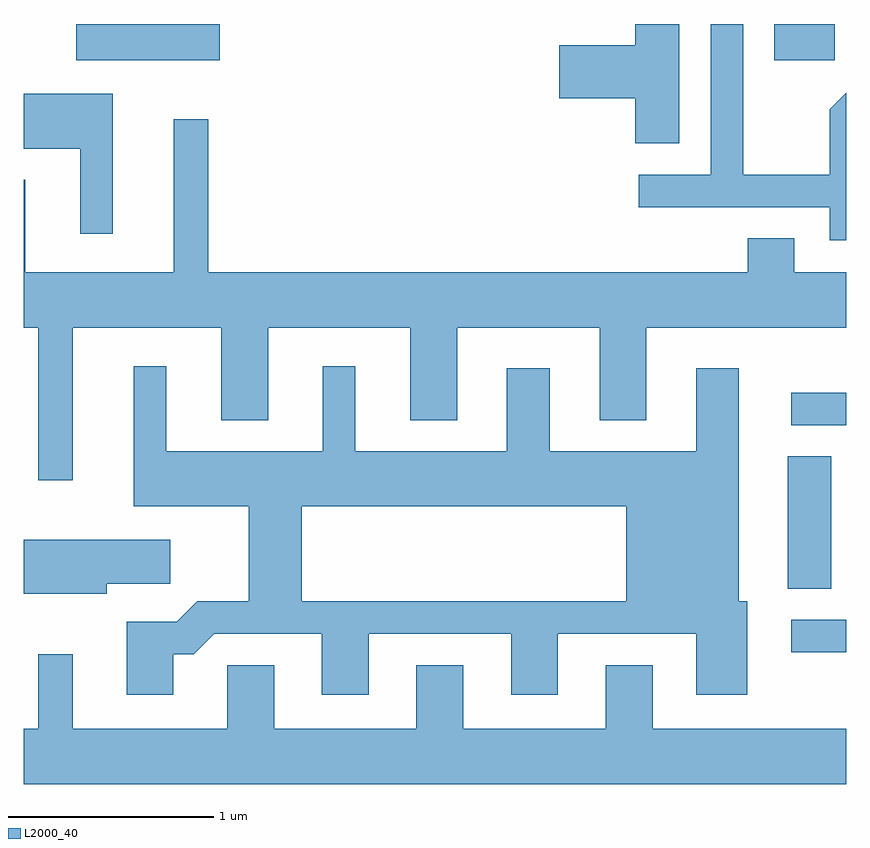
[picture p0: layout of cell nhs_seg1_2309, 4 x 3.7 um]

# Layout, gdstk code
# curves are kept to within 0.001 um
import gdstk
lib = gdstk.Library(unit=1e-6, precision=1e-09)
def R(c, l, rs):  # rectangles x0, y0, x1, y1
    for r in rs: c.add(gdstk.rectangle(r[:2], r[2:], *l))
def P(c, l, *ps):  # polygons
    for p in ps: c.add(gdstk.Polygon(p, *l))
L2000_40 = (2000, 40)

nhs_seg1_2309 = lib.new_cell('nhs_seg1_2309')
R(nhs_seg1_2309, L2000_40, [(259.343,904.656,259.611,904.814), (259.326,904.966,259.539,905.609), (259.343,905.761,259.611,905.919), (255.866,907.536,256.564,907.712), (259.261,907.536,259.554,907.712)])
P(nhs_seg1_2309, L2000_40, [(259.611,907.377),(259.531,907.297),(259.531,906.979),(259.109,906.979),(259.109,907.712),(258.951,907.712),(258.951,906.979),(258.603,906.979),(258.603,906.821),(259.531,906.821),(259.531,906.661),(259.611,906.661)],
  [(258.799,907.712),(258.586,907.712),(258.586,907.609),(258.216,907.609),(258.216,907.351),(258.586,907.351),(258.586,907.131),(258.799,907.131)],
  [(256.044,907.374),(255.611,907.374),(255.611,907.106),(255.886,907.106),(255.886,906.693),(256.044,906.693)],
  [(255.849,906.236),(256.571,906.236),(256.571,905.786),(256.799,905.786),(256.799,906.236),(257.491,906.236),(257.491,905.786),(257.719,905.786),(257.719,906.236),(258.411,906.236),(258.411,905.786),(258.639,905.786),(258.639,906.236),(259.611,906.236),(259.611,906.504),(259.359,906.504),(259.359,906.669),(259.131,906.669),(259.131,906.504),(256.509,906.504),(256.509,907.248),(256.341,907.248),(256.341,906.504),(255.619,906.504),(255.619,906.954),(255.611,906.954),(255.611,906.236),(255.681,906.236),(255.681,905.493),(255.849,905.493)],
  [(256.339,904.646),(256.437,904.646),(256.537,904.746),(257.061,904.746),(257.061,904.451),(257.289,904.451),(257.289,904.746),(257.981,904.746),(257.981,904.451),(258.209,904.451),(258.209,904.746),(258.881,904.746),(258.881,904.451),(259.129,904.451),(259.129,904.904),(259.089,904.904),(259.089,906.039),(258.881,906.039),(258.881,905.634),(258.169,905.634),(258.169,906.039),(257.961,906.039),(257.961,905.634),(257.224,905.634),(257.224,906.048),(257.066,906.048),(257.066,905.634),(256.304,905.634),(256.304,906.048),(256.146,906.048),(256.146,905.366),(256.706,905.366),(256.706,904.904),(256.964,904.904),(256.964,905.366),(258.541,905.366),(258.541,904.904),(256.454,904.904),(256.354,904.804),(256.111,904.804),(256.111,904.451),(256.339,904.451)],
  [(256.014,904.991),(256.324,904.991),(256.324,905.204),(255.611,905.204),(255.611,904.941),(256.014,904.941)],
  [(259.611,904.284),(258.669,904.284),(258.669,904.594),(258.441,904.594),(258.441,904.284),(257.749,904.284),(257.749,904.594),(257.521,904.594),(257.521,904.284),(256.829,904.284),(256.829,904.594),(256.601,904.594),(256.601,904.284),(255.849,904.284),(255.849,904.648),(255.681,904.648),(255.681,904.284),(255.611,904.284),(255.611,904.016),(259.611,904.016)])

lib.write_gds('nhs_seg1_2309.gds')
